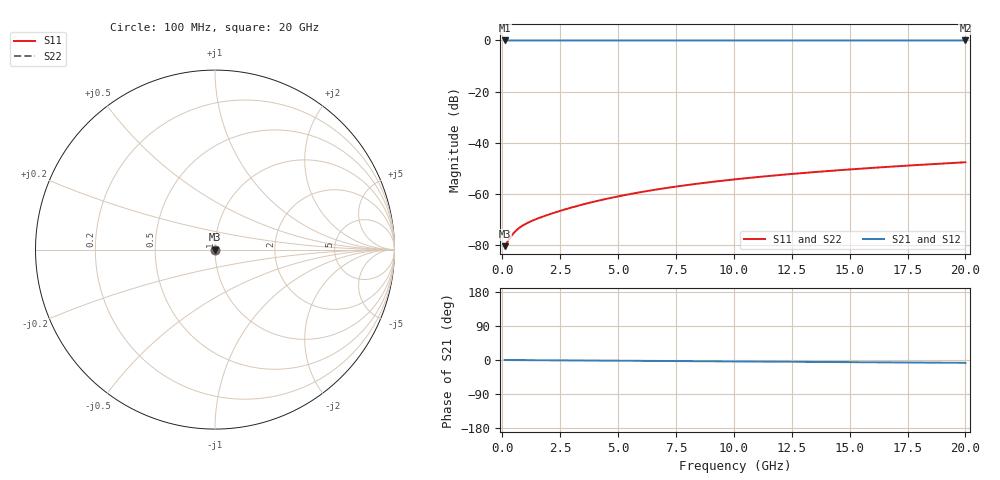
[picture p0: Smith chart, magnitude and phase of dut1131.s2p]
! Touchstone file exported from HFSS 2026.1.0
!  File:  C:/ffzhzh/LocalFiles/Ansys_Project_Files/temp_train_TSV_1131_1783191170_43440.aedt
!  Generated:  02:54:13 AM Jul  5, 2026
!  Design:  TSV
!  Project:  temp_train_TSV_1131_1783191170_43440
! Variables:
!  h_bsmrdl = 2um
!  h_ox = 20um
!  h_rdl = 5um
!  h_sub = 74.51um
!  h_tmrdl = 5um
!  h_tsv = 74.51um
!  h_via = 3um
!  l_bsmrdl = 300um
!  l_sub = 423.94um
!  l_tmrdl = 200um
!  m_sub = 200um
!  pitch = 46.41um
!  r_tsv = 11.97um
!  s_tmrdl = 10um
!  w_bsmrdl = 18um
!  w_sub = 500um
!  w_tmrdl = 12um
!  x_tsv_center1 = 206um
!  x_tsv_center2 = 524um
!  x_tsv_center3 = 736um
!  x_tsv_center4 = 1054um
!  x_tsv_center5 = 1266um
!  x_tsv_center6 = 1584um
# GHz S MA R 50.000000
! Terminal data exported
! Port[1] = TSV1_1_T1
! Port[2] = TSV1_1_T2
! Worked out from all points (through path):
!   200 points, 100 MHz to 20 GHz, reference 50 ohm
!   highest |S21| = 0.00 dB at 100 MHz (marker M1); lowest = 0.0 dB at 20 GHz (marker M2)
!   group delay of S21, straight-line fit = 1.05 ps
!   lowest |S11| = -80.4 dB at 100 MHz (marker M3), VSWR 1.00, Z = 50 + j0.00195 ohm
!   |S11| at or under -10 dB: start of sweep to end of sweep
!   |S22| runs from -80.4 to -47.6 dB; largest |S21 - S12| = 2e-15
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0.1  9.516e-05 11.8  0.9999 -0.0  0.9999 -0.0  9.516e-05 11.8
! Gamma 0 0 0 0
! Port Impedance 50 0 50 0
0.2  0.0001109 19.0  0.9999 -0.1  0.9999 -0.1  0.0001109 19.0
0.3  0.0001313 21.3  0.9999 -0.1  0.9999 -0.1  0.0001313 21.3
0.4  0.0001528 20.4  0.9999 -0.2  0.9999 -0.2  0.0001528 20.4
0.5  0.0001737 17.9  0.9998 -0.2  0.9998 -0.2  0.0001737 17.9
0.6  0.0001933 14.5  0.9998 -0.2  0.9998 -0.2  0.0001933 14.5
0.8  0.0002281 6.9  0.9998 -0.3  0.9998 -0.3  0.0002281 6.9
1  0.0002586 -0.5  0.9997 -0.4  0.9997 -0.4  0.0002586 -0.5
1.4  0.0003136 -13.0  0.9997 -0.5  0.9997 -0.5  0.0003136 -13.0
2  0.0003946 -26.7  0.9996 -0.8  0.9996 -0.8  0.0003946 -26.7
2.7  0.0004968 -37.3  0.9996 -1.0  0.9996 -1.0  0.0004968 -37.3
3.5  0.0006255 -45.4  0.9996 -1.3  0.9996 -1.3  0.0006255 -45.4
4.3  0.000765 -51.2  0.9995 -1.6  0.9995 -1.6  0.000765 -51.2
5.1  0.0009132 -55.5  0.9995 -1.9  0.9995 -1.9  0.0009132 -55.5
5.9  0.001068 -59.0  0.9994 -2.2  0.9994 -2.2  0.001068 -59.0
6.8  0.001248 -62.2  0.9994 -2.6  0.9994 -2.6  0.001248 -62.2
8.4  0.001578 -66.7  0.9993 -3.2  0.9993 -3.2  0.001578 -66.7
10.1  0.001938 -70.4  0.9992 -3.8  0.9992 -3.8  0.001938 -70.4
11.7  0.002283 -73.2  0.9992 -4.4  0.9992 -4.4  0.002283 -73.2
13.4  0.002654 -75.7  0.9991 -5.1  0.9991 -5.1  0.002654 -75.7
16.7  0.003392 -79.5  0.999 -6.3  0.999 -6.3  0.003392 -79.5
20  0.004157 -82.4  0.9989 -7.5  0.9989 -7.5  0.004157 -82.4
